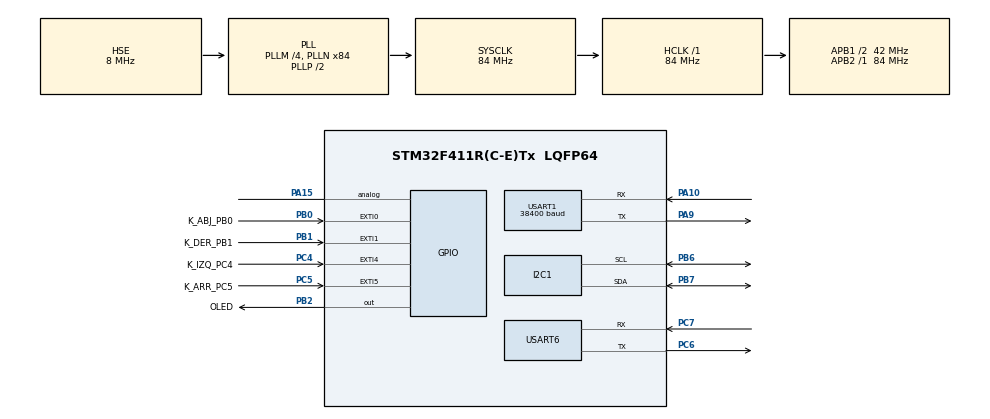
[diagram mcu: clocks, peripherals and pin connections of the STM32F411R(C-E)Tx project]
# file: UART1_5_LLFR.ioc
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FREERTOS.Tasks01=defaultTask,0,128,StartDefaultTask,Default,NULL
Mcu.Family=STM32F4
Mcu.Name=STM32F411R(C-E)Tx
Mcu.Package=LQFP64
NVIC.PriorityGroup=NVIC_PRIORITYGROUP_4
NVIC.TIM1_UP_TIM10_IRQn=true\:0\:0\:false\:false\:true\:false\:false\:true
NVIC.TimeBase=TIM1_UP_TIM10_IRQn
NVIC.TimeBaseIP=TIM1
NVIC.USART1_IRQn=true\:5\:0\:false\:false\:true\:true\:true\:true
NVIC.USART6_IRQn=true\:5\:0\:false\:false\:true\:true\:true\:true
PA10.GPIO_Mode=GPIO_MODE_AF_PP
PA10.GPIO_PuPd=GPIO_PULLUP
PA10.GPIO_Speed=GPIO_SPEED_FREQ_VERY_HIGH
PA10.Mode=Asynchronous
PA10.Signal=USART1_RX
PA13.Mode=Serial_Wire
PA13.Signal=SYS_JTMS-SWDIO
PA14.Mode=Serial_Wire
PA14.Signal=SYS_JTCK-SWCLK
PA15.Signal=GPIO_Analog
PA9.GPIO_Mode=GPIO_MODE_AF_PP
PA9.GPIO_PuPd=GPIO_PULLUP
PA9.GPIO_Speed=GPIO_SPEED_FREQ_VERY_HIGH
PA9.Mode=Asynchronous
PA9.Signal=USART1_TX
PB0.GPIO_Label=K_ABJ_PB0
PB0.GPIO_ModeDefaultEXTI=GPIO_MODE_IT_FALLING
PB0.Signal=GPXTI0
PB1.GPIO_Label=K_DER_PB1
PB1.GPIO_ModeDefaultEXTI=GPIO_MODE_IT_FALLING
PB1.Signal=GPXTI1
PB2.GPIO_Label=OLED
PB2.GPIO_ModeDefaultOutputPP=GPIO_MODE_OUTPUT_PP
PB2.GPIO_PuPd=GPIO_NOPULL
PB2.GPIO_Speed=GPIO_SPEED_FREQ_LOW
PB2.PinState=GPIO_PIN_RESET
PB2.Signal=GPIO_Output
PB6.Mode=I2C
PB6.Signal=I2C1_SCL
PB7.Mode=I2C
PB7.Signal=I2C1_SDA
PC4.GPIO_Label=K_IZQ_PC4
PC4.GPIO_ModeDefaultEXTI=GPIO_MODE_IT_FALLING
PC4.Signal=GPXTI4
PC5.GPIO_Label=K_ARR_PC5
PC5.GPIO_ModeDefaultEXTI=GPIO_MODE_IT_FALLING
PC5.Signal=GPXTI5
PC6.Mode=Asynchronous
PC6.Signal=USART6_TX
PC7.Mode=Asynchronous
PC7.Signal=USART6_RX
PH0\ -\ OSC_IN.Mode=HSE-External-Oscillator
PH0\ -\ OSC_IN.Signal=RCC_OSC_IN
PH1\ -\ OSC_OUT.Mode=HSE-External-Oscillator
PH1\ -\ OSC_OUT.Signal=RCC_OSC_OUT
ProjectManager.HeapSize=0x200
ProjectManager.StackSize=0x400
ProjectManager.TargetToolchain=SW4STM32
RCC.48MHZClocksFreq_Value=42000000
RCC.AHBFreq_Value=84000000
RCC.APB1CLKDivider=RCC_HCLK_DIV2
RCC.APB1Freq_Value=42000000
RCC.APB1TimFreq_Value=84000000
RCC.APB2Freq_Value=84000000
RCC.APB2TimFreq_Value=84000000
RCC.CortexFreq_Value=84000000
RCC.HCLKFreq_Value=84000000
RCC.HSE_VALUE=8000000
RCC.HSI_VALUE=16000000
RCC.LSE_VALUE=32768
RCC.PLLM=4
RCC.PLLN=84
RCC.PLLSourceVirtual=RCC_PLLSOURCE_HSE
RCC.SYSCLKFreq_VALUE=84000000
RCC.SYSCLKSource=RCC_SYSCLKSOURCE_PLLCLK
RCC.VCOOutputFreq_Value=168000000
USART1.BaudRate=38400
USART1.VirtualMode=VM_ASYNC
USART1.WordLength=WORDLENGTH_8B
USART6.VirtualMode=VM_ASYNC
USART6.WordLength=WORDLENGTH_8B
VP_FREERTOS_VS_CMSIS_V1.Mode=CMSIS_V1
VP_SYS_VS_tim1.Mode=TIM1
board=test_01_LED

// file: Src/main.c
/* USER CODE BEGIN Header */
/**
  ******************************************************************************
  * @file           : main.c
  * @brief          : Main program body
  ******************************************************************************
  * @attention
  *
  * <h2><center>&copy; Copyright (c) 2019 STMicroelectronics.
  * All rights reserved.</center></h2>
  *
  * This software component is licensed by ST under Ultimate Liberty license
  * SLA0044, the "License"; You may not use this file except in compliance with
  * the License. You may obtain a copy of the License at:
  *                             www.st.com/SLA0044
  *
  **
  ******************************************************************************
  * @file    main.c
  * @author  R.Oliva - RTOS (i) TP Final
  * @version V1.1
  * @brief   main del TPFinal RTOS i 2019
  ******************************************************************************
  */

/* USER CODE END Header */

#include <string.h>
#include <stdio.h>
#include <stdint.h>
#include "main.h"
#include "cmsis_os.h"
#include "i2c.h"
#include "usart.h"
#include "gpio.h"

/* USER CODE BEGIN Includes */

#define TRUE 1
#define FALSE 0

#define PKTBUFSIZE  96
#define PACK_OK_LEN 35

// #define DEBUG_USART6
#define DEBUG_VERBOSE

/* USER CODE END Includes */

/* USER CODE BEGIN PTD */
// 24.4.2019 -Make packet_content type char, 35+2 chars long
typedef struct PACKET_OK
{
  char packet_content[PACK_OK_LEN+2];
} PACKET_OK_t;
//
// v6 for use with METEO v20 uses packet "UUU$ttttt.bbbbb.dddd.sssss.vvv.CRCC*QQQ":  (WSpeed is 5 chars long)
//      UUU$   start identifier
//      ttttt is 00000 08191 Raw Temperature ADC reading, can be 0-5V( Direct sensor with G=2) or 1-5V (4-20mA)
//      bbbbb is 00000 08191 Raw BaroPressure ADC reading, can be 0-5V( Direct sensor with G=1) or 1-5V (4-20mA)
//      dddd  is 0000 to 3600, WDIR*10 in UWORD
//      sssss is 00000 to 99999 from Anemometer / Thies.
//      vvv   was voltage, not used.
//      CRCC  is simple checksum (paso a uint16_t)
//      *QQQ  end identifier
//      Total length from $ is: 5+1+5+1+4+1+5+1+3+1+4= then '*' =15+7+4+5 =31
//      Total length form first U is 31+4 = 35
//      TestCStr[] = "UUU$29335.10156.2562.15100.125.1095*QQQ";
//  Parsed originally (after $ detected) with
// 	c = (char)sscanf(packet,"%5d.%5d.%4d.%5d.%3d.%4x",&out_t,
//
//  Now Parsed with UUU$ at start with:
// 	c = (uint8_t)sscanf(packet,"%4s%5d.%5d.%4d.%5d.%3d.%4x",&out_id,&out_t,
//		&out_b, &out_w_dir,&out_w_speed,
//		&out_vbat,&checksum);
// char okTestCStr[] = "UUU$29335.10156.2562.15100.125.1095";

//UART6 command structure Implem 21.4.19
typedef struct APP_CMD
{
	uint8_t COMMAND_NUM;
	uint8_t COMMAND_ARGS[10];
}APP_CMD_t;

typedef struct sensor_holder {
        int16_t IS_Aero;      // Current in 0-5V - Sampled
        int16_t Vs_Vbat;      // Bat. Voltage in 0-5V - Sampled
        int16_t Vs_OWind;     // OutDoor Wind Freq [Hz] from METEO / COM1
        int16_t Vs_OWDir;     // OutDoor WindDirection 0-360.0 [º] from METEO / COM1
        int16_t Vs_OTemp;     // External Temp 0-5V from METEO+NOMAD2/COM1
        int16_t Vs_OBaro;     // Barometric Pressure 0-5V from METEO+NOMAD2/COM1
} V_SENSOR_t;

/* USER CODE END PTD */

/* USER CODE BEGIN PD */
// Nuevo Menu 21.4.19
#define TOG_DEMO_U1_SINCOMM_COMMAND 	1
#define TOG_DEMO_U1_LOOPBK_COMMAND 		2
#define TOG_LEE_U1_METEO_COMMAND 		3
#define RTC_READ_DATE_TIME_COMMAND 	    4

// Flag defines Nuevo Menu 21.4.19
// #define DEMO1_OFF   (uint8_t)(0)
// #define DEMO1_ON    (uint8_t)(1)

char TestCStr[] = "UUU$29335.10156.2562.15100.125.1095*QQQ";
// y sin el tramo final:
// (corregido al valor en hexa = 57278 = 0xdfbe
char okTestCStr[] = "UUU$29335.10156.2562.15100.125.DFBE";
/* USER CODE END PD */

/* USER CODE BEGIN PV */
//global space for some variable
char usr_msg[250]={0};

//task handles
TaskHandle_t xTaskHandleDisplay   = NULL;   // Task 1 Display Handle
TaskHandle_t xTaskHandleChkMeteo  = NULL;   // Task 2 CheckMeteo Handle
TaskHandle_t xTaskHandleProcOutd  = NULL;   // Task 3 ProcessOutdoorInfo Handle
TaskHandle_t xTaskHandleWrUart6   = NULL;   // Task 4 Write_Uart6 Handle
TaskHandle_t xTaskHandlePrintErr  = NULL;   // Task 5 PrintError
TaskHandle_t xTaskHandleHeartBeat = NULL;   // Task 6 OLED Heartbeat 21.4.19
TaskHandle_t xTaskHandleUart6CmdH = NULL;   // Task 7 Uart6 CmdHandling 21.4.19
TaskHandle_t xTaskHandleUart6CmdP = NULL;   // Task 8 Uart6 CmdProcess 21.4.19

//Queue handle
QueueHandle_t packet_queue       = NULL;   // ok packets queue handle
QueueHandle_t output_write_queue = NULL;   // output write queue handle
QueueHandle_t command_queue      = NULL;   // comandos via UART6 Terminal

//software timer handle
TimerHandle_t led_timer_handle = NULL;

// Mutex handle declaration
SemaphoreHandle_t xMutex       = NULL;    // Protects sensor_data

// Binary Semaphore Handle
SemaphoreHandle_t xSem1        = NULL;

// packet buffer
uint8_t packet_buffer[PKTBUFSIZE];
uint8_t packet_len = 0;
uint8_t command_buffer[20];
uint8_t command_len = 0 ;
// 24.4.2019 command_selector - moved by user
// with UART6 menu, changes what Task3 sends to output
// uint8_t command_selector = 0;

// Pasamos a memoria global 24.4.2019
PACKET_OK_t new_packet;

// Global Sensor values (int)
V_SENSOR_t sensor_val;

// Control
int16_t  g_chk = 0;
int16_t  g_items = 0;
uint16_t  g_checksum = 0; // 25.4.19

// Menu por USART 6
// Nuevo menu 24.4.2019
char menu[]={"\
\r\nImprime Viento de METEO   ----> 1 \
\r\nImprime TempExterior MET  ----> 2 \
\r\nImprime DirViento METEO   ----> 3 \
\r\nImprime Info String MET    ---> 4 \
\r\nImprime Continuamente      ---> 5 \
\r\nDetener e imprimir Menu   ----> 0 \
\r\nTipee su opcion : "};

/* USER CODE END PV */

void SystemClock_Config(void);
void MX_FREERTOS_Init(void);
/* USER CODE BEGIN PFP */
//tasks prototypes - RTOS1
void vTask_Display(void *params);              // Task 1 = Display
void vTask_Check_Meteo_packet(void *params);   // Task 2 = Check Meteo Packet
void vTask_Process_OutdoorInfo(void *params);  // Task 3 = ProcessOutdoorInfo
void vTask_Write_Uart6(void *params);          // Task 4 = Write to UART6 -Terminal
void vTask_PrintError(void *params);           // Task 5 = Imprimeerror
void vTask_HeartBeat(void *params);            // Task 6 = OLED Heartbeat 21.4.19
void vTask_uart6_cmd_handling(void *params);   // Task 7 = Terminal UART6 Cmd_Handling
void vTask_uart6_cmd_processing(void *params); // Task 8 = Terminal UART6 proceso comandos

// Funciones auxiliares
// Enviar el Queue de salida a UART6
// void vTask_Write_Uart6(void *params);
// Prints message out on UART6..
void printmsg(char *msg);
// Enviar Items leidos via UART1
void print_items_message(int16_t items);
// Salida 1 - viento en UART1 - redef 25.4.2019
void print_Wind_Speed(char *task_msg, int16_t wsp);
// Salida 2 - Temp en UART1 - redef 25.4.2019
void print_Out_Temp(char *task_msg, int16_t temp);
// Salida 3 - DirViento en UART1 - redef 25.4.2019
void print_Wind_Dir(char *task_msg, int16_t wdir);
// Salida 4 - Contenidos String - redef 25.4.2019
void print_String_Items(char *task_msg, uint16_t u6checksum, uint16_t u6chk, int16_t u6items);
// Salida 5 - Impresion continua;
void print_String_Complete(char *task_msg,
		int16_t temp,
		int16_t wsp,
		int16_t wdir,
		uint16_t u6checksum,
		uint16_t u6chk,
		int16_t u6items);

// Salida - Error en Outdoor Info
void print_error_message(char *task_msg);
// Codigo del U6 - Terminal
uint8_t getCommandCode(uint8_t *buffer);
// Futuro: comandos UART6 - Terminal - Argumentos
void getArguments(uint8_t *buffer);
// Implementado 21.4.19 para comando 1

#ifdef MODO_DEMO_ON
void toggle_demoU1_sinCom(char *task_msg);
// No implementado
void toggle_demoU1_Comloopbak(void);
// No implementado
void toggle_leeU1Meteo(void);
// Parcial
void read_rtc_info(char *task_msg);
#endif
// 22 4 2019  -Start Reception Function
// Rutinal LL requieren habilitación
// (STMCubeF4 v1_24 - LLNucleo 411 Examples)
void Start_Reception(void);
// Salida U6 Menu - Error en Comando
void print_Uart6_error_message(char *task_msg);
// UART6 Mensaje Comando 1
void print_Uart6_messageCmd1(char *task_msg);

/* USER CODE END PFP */

int main(void)
{

  /* MCU Configuration--------------------------------------------------------*/

  /* Reset of all peripherals, Initializes the Flash interface and the Systick. */
  HAL_Init();

  /* Configure the system clock */
  SystemClock_Config();

  /* Initialize all configured peripherals */
  MX_GPIO_Init();
  MX_I2C1_Init();
  MX_USART6_UART_Init();
  MX_USART1_UART_Init();
  /* USER CODE BEGIN 2 */
  sprintf(usr_msg,"\r\n RTOS1 TP Final R.Oliva 2019 \r\n");
  printmsg(usr_msg);

  /* USER CODE END 2 */

  /* Call init function for freertos objects (in freertos.c) */
  MX_FREERTOS_Init();

  // Start Reception - Habilita Flags USARTs 22.4.2019
  Start_Reception();

  // Create packet queue (up to 10 stripped packets)
  packet_queue = xQueueCreate(10,sizeof(PACKET_OK_t));

  // Create the write queue (up to 300 chars) - 25.4.19 ++to300 chars
  output_write_queue = xQueueCreate(300,sizeof(char*));

  // 21.4.2019 create command queue
  command_queue = xQueueCreate(10,sizeof(APP_CMD_t*));

  //24.4.2019 Zona protegida de Memoria Sensores
  xMutex = xSemaphoreCreateMutex();

  // 25.4.2019
  xSem1 =  xSemaphoreCreateBinary();

	// tasks creation - RTOS1
	// void vTask_Display(void *params);              // Task 1 = Display
	// void vTask_Check_Meteo_packet(void *params);   // Task 2 = Check Meteo Packet
	// void vTask_Process_OutdoorInfo(void *params);  // Task 3 = ProcessOutdoorInfo
	// void vTask_Write_Uart6(void *params);          // Task 4 = Write to UART6 -Terminal
	// with task handles
	// TaskHandle_t xTaskHandleDisplay  = NULL;   // Task 1 Display Handle
	// TaskHandle_t xTaskHandleChkMeteo = NULL;   // Task 2 CheckMeteo Handle
	// TaskHandle_t xTaskHandleProcOutd = NULL;   // Task 3 ProcessOutdoorInfo Handle
	// TaskHandle_t xTaskHandleWrUart6  = NULL;   // Task 4 Write_Uart6 Handle

	if((packet_queue != NULL) && (output_write_queue != NULL) && (command_queue != NULL) && (xMutex != NULL) && xSem1 != NULL )
	{
		// Create task-1 vTask_Display
		// TaskHandle_t xTaskHandleDisplay -  Task 1 Display Handle
		xTaskCreate(vTask_Display,"TASK_DISPLAY-1",500,NULL,1,&xTaskHandleDisplay);

		// Create task-2 vTask_Check_Meteo_packet
		// TaskHandle_t xTaskHandleChkMeteo - Task 2 CheckMeteo Handle
		xTaskCreate(vTask_Check_Meteo_packet,"TASK_CHK_MET_2",500,NULL,2,&xTaskHandleChkMeteo);

		// Create task-3 vTask_Process_OutdoorInfo
		// TaskHandle_t xTaskHandleProcOutd - Task 3 ProcessOutdoorInfo Handle
		xTaskCreate(vTask_Process_OutdoorInfo,"TASK_PROCESS_OUTD_3",500,NULL,2,&xTaskHandleProcOutd);

		// Create task-4 vTask_Write_Uart6
		// TaskHandle_t xTaskHandleWrUart6  - Task 4 Write_Uart6 Handle
		xTaskCreate(vTask_Write_Uart6,"TASK4-UART-WRITE",500,NULL,2,&xTaskHandleWrUart6);

		// Create task-5 vTask_PrintError
		// TaskHandle_t xPrintError  - Task 5
		xTaskCreate(vTask_PrintError,"TASK5-PRINTERROR",500,NULL,2,&xTaskHandlePrintErr);

		// Create task-6 vTask_HeartBeat
		// TaskHandle_t HeartBeat  - Task 6
		xTaskCreate(vTask_HeartBeat,"TASK6-HrtBEAT",500,NULL,2,&xTaskHandleHeartBeat);

		//create task-7 U6 cmd handle
		xTaskCreate(vTask_uart6_cmd_handling,"TASK7-U6CMD-HANDLING",500,NULL,2,&xTaskHandleUart6CmdH);

		//create task-8 U6 cmd process 25.4.Subimos Stack
		xTaskCreate(vTask_uart6_cmd_processing,"TASK8-U6CMD-PROCESS",700,NULL,2,&xTaskHandleUart6CmdP);

	    // start the scheduler
	    vTaskStartScheduler();
	}else
	{
		sprintf(usr_msg,"Fallo la creacion de las colas / mutex!\r\n");
		printmsg(usr_msg);

   }

  /* Start scheduler */
  // osKernelStart();

  /* We should never get here as control is now taken by the scheduler */

  /* Infinite loop */
  while (1)
  {

  }
}

void SystemClock_Config(void)
{
  RCC_OscInitTypeDef RCC_OscInitStruct = {0};
  RCC_ClkInitTypeDef RCC_ClkInitStruct = {0};

  /** Configure the main internal regulator output voltage
  */
  __HAL_RCC_PWR_CLK_ENABLE();
  __HAL_PWR_VOLTAGESCALING_CONFIG(PWR_REGULATOR_VOLTAGE_SCALE1);
  /** Initializes the CPU, AHB and APB busses clocks
  */
  RCC_OscInitStruct.OscillatorType = RCC_OSCILLATORTYPE_HSE;
  RCC_OscInitStruct.HSEState = RCC_HSE_ON;
  RCC_OscInitStruct.PLL.PLLState = RCC_PLL_ON;
  RCC_OscInitStruct.PLL.PLLSource = RCC_PLLSOURCE_HSE;
  RCC_OscInitStruct.PLL.PLLM = 4;
  RCC_OscInitStruct.PLL.PLLN = 84;
  RCC_OscInitStruct.PLL.PLLP = RCC_PLLP_DIV2;
  RCC_OscInitStruct.PLL.PLLQ = 4;
  if (HAL_RCC_OscConfig(&RCC_OscInitStruct) != HAL_OK)
  {
    Error_Handler();
  }
  /** Initializes the CPU, AHB and APB busses clocks
  */
  RCC_ClkInitStruct.ClockType = RCC_CLOCKTYPE_HCLK|RCC_CLOCKTYPE_SYSCLK
                              |RCC_CLOCKTYPE_PCLK1|RCC_CLOCKTYPE_PCLK2;
  RCC_ClkInitStruct.SYSCLKSource = RCC_SYSCLKSOURCE_PLLCLK;
  RCC_ClkInitStruct.AHBCLKDivider = RCC_SYSCLK_DIV1;
  RCC_ClkInitStruct.APB1CLKDivider = RCC_HCLK_DIV2;
  RCC_ClkInitStruct.APB2CLKDivider = RCC_HCLK_DIV1;

  if (HAL_RCC_ClockConfig(&RCC_ClkInitStruct, FLASH_LATENCY_2) != HAL_OK)
  {
    Error_Handler();
  }
}

/* USER CODE BEGIN 4 */

// RTOSi - Implementacion de Task handlers
// TP Final R.Oliva 2019

// Task 1 - Display Menu por UART6
void vTask_Display(void *params)
{
char *pData = menu;
#ifdef DEBUG_VERBOSE
printmsg("\n\rTsk1");
#endif
vTaskDelay(20);
	while(1)
	{
		xQueueSend(output_write_queue,&pData,portMAX_DELAY);

		//Esperar indefinidamente.
		xTaskNotifyWait(0,0,NULL,portMAX_DELAY);
		vTaskDelay(pdMS_TO_TICKS(50)); //23.4.19

	}
}

// Task2 vTask_Check_Meteo_packet - Verifica lo que llega
// de METEO por UART1, y lo pasa a la cola de paquetes ok
// En modo Demo, con uint8_t flag_demo_U1_sinCom = DEMO1_ON
// envía cada 1000 ms un paquete de muestra - sino en OFF
// espera notificación de un paquete via UART1
// 24.4.2019 Sacamos modo Demo, solo String ISR_UART1
// Copiado y pasado al Packet queue, delay 0
void vTask_Check_Meteo_packet(void *params)
{
// uint8_t command_code=0;
// typedef struct PACKET_OK
// {
//    uint8_t packet_content[PACK_OK_LEN+1];
// } PACKET_OK_t;
// PACKET_OK_t *new_packet;
#ifdef DEBUG_VERBOSE
   printmsg("\n\rTsk2");
#endif
//vTaskDelay(20);
	while(1)
	{
        // Sacamos modo Demo, esperamos String de ISR_UART1
		// En vez de PortMaxDelay, que espere 1500 ms pdMS_TO_TICKS(1500));
		// xTaskNotifyWait(0,0,NULL,portMAX_DELAY);
		vTaskDelay(pdMS_TO_TICKS(500));

		// 1. allocate space.. Not used
	    // new_packet = (PACKET_OK_t*) pvPortMalloc(sizeof(PACKET_OK_t));

		//taskENTER_CRITICAL();
		// make a copy of the buffer_packet to new_packet
		// strncpy(new_packet->packet_content, packet_buffer,PACK_OK_LEN);
		strncpy(new_packet.packet_content, okTestCStr,PACK_OK_LEN);
		// Copiamos uno de muestra (corregido 25.42019)
	    // char okTestCStr[] = "UUU$29335.10156.2562.15100.125.dfbe";
		//sprintf(new_packet->packet_content,"%s",okTestCStr);
		//taskEXIT_CRITICAL();

		// 24.4.2019 Delay
		xQueueSend(packet_queue,&new_packet, portMAX_DELAY);

		vTaskDelay(pdMS_TO_TICKS(50));
	}

}

// Task3 vTask_Process_OutdoorInfo - el paquete
// de METEO por UART1 es procesado para sacar la info
// 24.4.2019
// Menu por USART 6
// Nuevo menu 24.4.2019
// char menu[]={"
// Imprime Viento de METEO   ----> 1
// Imprime TempExterior MET  ----> 2
// Imprime DirViento METEO   ----> 3
// Imprime Info S Completo MET---> 4
// nDetener e imprimir Menu   ----> 0
// 24.4.19 Copiar datos a
// Control
// int16_t  g_chk = 0;
// in t16_t  g_items = 0;
//    V_SENSOR_t sensor_val;
//typedef struct sensor_holder {
//        int16_t IS_Aero;      // Current in 0-5V - Sampled
//        int16_t Vs_Vbat;      // Bat. Voltage in 0-5V - Sampled
//        int16_t Vs_OWind;     // OutDoor Wind Freq [Hz] from METEO / COM1
//        int16_t Vs_OWDir;     // OutDoor WindDirection 0-360.0 [º] from METEO / COM1
//        int16_t Vs_OTemp;     // External Temp 0-5V from METEO+NOMAD2/COM1
//        int16_t Vs_OBaro;     // Barometric Pressure 0-5V from METEO+NOMAD2/COM1
// V_SENSOR_t;

void vTask_Process_OutdoorInfo(void *params)
{
	// PACKET_OK_t *new_packet;
	// char task_msg[50];
	char out_id[6];
	uint16_t chk = 0;
    int16_t items = 0;
	int16_t out_t =0;
	int16_t out_b = 0;
	int16_t out_w_speed = 0;
	int16_t out_vbat = 0;
    int16_t out_w_dir = 0;
	uint16_t checksum = 0;  // temporary variables 25.4.19 checksum unsigned
	//uint32_t toggle_duration = pdMS_TO_TICKS(500);
    #ifdef DEBUG_VERBOSE
	 printmsg("\n\rTsk3");
    #endif

	while(1)
	{
		xQueueReceive(packet_queue,(void*)&new_packet,portMAX_DELAY);
        // printmsg("\n\r1");

		items = sscanf(new_packet.packet_content,"%4s%5hd.%5hd.%4hd.%5hd.%3hd.%4hx",&out_id,&out_t,
		 &out_b, &out_w_dir,&out_w_speed, &out_vbat,&checksum);

		// print_items_message(items);
		// void print_items_message(char *task_msg, int16_t items)
		// sprintf("\n\r I %d, o_v %d", items, out_vbat);
		// printmsg(task_msg);

		chk = out_t + out_b + out_w_dir;
	    chk += out_w_speed + out_vbat;

	    // Protect Access
        xSemaphoreTake(xMutex, portMAX_DELAY);

        sensor_val.Vs_OTemp = out_t;
        sensor_val.Vs_OBaro = out_b;
        sensor_val.Vs_OWind = out_w_speed;
        sensor_val.Vs_OWDir = out_w_dir;
        g_checksum = checksum;
        g_chk = chk;
        g_items = items;

        xSemaphoreGive(xMutex);

        /* solucion anterior
	    if((chk == checksum) && (items == 7))
		{
		print_Wind_Speed(task_msg, out_w_speed);
		}
		else
		{
		print_error_message(task_msg);
		}
		*/
		// enviar a QB_output a Terminal, delay 0
		// xQueueSend(output_write_queue,&task_msg, portMAX_DELAY);

		// liberar memoria de new_packet - ya no usado
		// vPortFree(new_packet);
		vTaskDelay(pdMS_TO_TICKS(100));
	}
}

// Task4 vTask_PrintError solo en caso de recepcion erronea UART1
void vTask_PrintError(void *params)
{
	char pData[] = "Error en Recepcion";
	printmsg("\n\rTsk5");
	vTaskDelay(20);
	while(1)
	{
		xTaskNotifyWait(0,0,NULL,portMAX_DELAY);
		//1. allocate space..
		xQueueSend(output_write_queue,&pData,portMAX_DELAY);
		vTaskDelay(pdMS_TO_TICKS(50));
	}

}

// Task5 vTask_Write_UART6 todo lo que llega a la cola de output va a la UART6 a 115200
void vTask_Write_Uart6(void *params)
{
	char *pData = NULL;
	printmsg("\n\rTs4..");
	vTaskDelay(20);
	while(1)
	{

        xQueueReceive(output_write_queue,&pData,portMAX_DELAY);
		printmsg(pData);
		vTaskDelay(pdMS_TO_TICKS(50));

	}
}

// Task 6 = OLED Heartbeat 21.4.19
void vTask_HeartBeat(void *params)
{

	while(1){
		vTaskDelay(pdMS_TO_TICKS(500));
		// OLED_GPIO_Port, OLED_Pin
		LL_GPIO_TogglePin(OLED_GPIO_Port,OLED_Pin);
	}
}

// void vTask_uart6_cmd_handling - decodifica el comando que le llega del usuario
// a traves de terminal UART6, según el menu, y lo manda a la cola de comandos
void vTask_uart6_cmd_handling(void *params)   // Task 7 = Terminal UART6 Cmd_Handling
{
	uint8_t command_code=0;
	APP_CMD_t *new_cmd;
	char dbg_msg[20];

	while(1)
	{
		xTaskNotifyWait(0,0,NULL,portMAX_DELAY);
		//1. send command to queue
		#ifdef DEBUG_USART6
			sprintf(dbg_msg,"\r\nRxCmh");
			printmsg(dbg_msg);
		#endif
		new_cmd = (APP_CMD_t*) pvPortMalloc(sizeof(APP_CMD_t));

		taskENTER_CRITICAL();
		command_code = getCommandCode(command_buffer);
		new_cmd->COMMAND_NUM = command_code;
		getArguments(new_cmd->COMMAND_ARGS);
		taskEXIT_CRITICAL();
		#ifdef DEBUG_USART6
			sprintf(dbg_msg,"\r\n Cm%d",command_code);
			printmsg(dbg_msg);
		#endif
		// enviar al command queue 21.4.19
		xQueueSend(command_queue,&new_cmd,portMAX_DELAY);
		vTaskDelay(pdMS_TO_TICKS(50));
	}
}

// Task 8 void vTask_uart6_cmd_processing - ejecuta los comandos de la cola
// de comandos alimentada por el task anterior
// int16_t out_t =0;
// int16_t out_b = 0;
// int16_t out_w_speed = 0;
// int16_t out_vbat = 0;
// int16_t out_w_dir = 0;
// uint16_t checksum = 0;  // temporary variables
// Valores del String transmitido por METEO:
// v6 for use with METEO v20 uses packet "UUU$ttttt.bbbbb.dddd.sssss.vvv.CRCC*QQQ":  (WSpeed is 5 chars long)
//      UUU$   start identifier
//      ttttt is 00000 08191 Raw Temperature ADC reading, can be 0-5V( Direct sensor with G=2) or 1-5V (4-20mA)
//      bbbbb is 00000 08191 Raw BaroPressure ADC reading, can be 0-5V( Direct sensor with G=1) or 1-5V (4-20mA)
//      dddd  is 0000 to 3600, WDIR*10 in UWORD
//      sssss is 00000 to 99999 from Anemometer / Thies.
//      vvv   was voltage, not used.
//      CRCC  is simple checksum
//      *QQQ  end identifier
// Si se usa el de muestra:
// char okTestCStr[] = "UUU$29335.10156.2562.15100.125.1095";
//  Imprime Viento de METEO   ----> 1
//  Imprime TempExterior MET  ----> 2
//  Imprime DirViento METEO   ----> 3
//  Imprime Info String MET    ---> 4
//  Impresion continua         ---> 5
//  Detener e imprimir Menu   ----> 0
//  Tipee su opcion : "};

// Task 8 = Terminal UART6 proceso comandos

void vTask_uart6_cmd_processing(void *params)
{
	APP_CMD_t *new_cmd;
	char task_msg[100];
	static uint8_t local_command_sel = 1;
	uint16_t u6chk = 0;
    int16_t u6items = 0;
    int16_t outtemp=0;
	int16_t u6outbaro = 0;
	int16_t u6outwindspeed = 0;
    int16_t u6outwinddir = 0;
	uint16_t u6checksum = 0;
    TickType_t QDelay = portMAX_DELAY;
	// pdMS_TO_TICKS(2000)

	while(1)
	{
		xQueueReceive(command_queue,(void*)&new_cmd, QDelay );

		#ifdef DEBUG_USART6
			sprintf(task_msg,"\r\n C_N:%d", new_cmd->COMMAND_NUM);
			printmsg(task_msg);
		#endif

	    xSemaphoreTake(xMutex, portMAX_DELAY);
	    outtemp = sensor_val.Vs_OTemp;
	    u6outbaro = sensor_val.Vs_OBaro;
	    u6outwindspeed = sensor_val.Vs_OWind;
	    u6outwinddir = sensor_val.Vs_OWDir;
	    u6checksum = g_checksum;
	    u6chk  = g_chk;
	    u6items = g_items;
	    xSemaphoreGive(xMutex);

		if(new_cmd->COMMAND_NUM == 1)
		{
			//print_Uart6_messageCmd1(task_msg);
			print_Wind_Speed(task_msg, u6outwindspeed);
			QDelay = portMAX_DELAY;
		}
		else if(new_cmd->COMMAND_NUM == 2)
		{
			print_Out_Temp(task_msg, outtemp);
			QDelay = portMAX_DELAY;
		}
		else if(new_cmd->COMMAND_NUM == 3)
		{
			print_Wind_Dir(task_msg, u6outwinddir);
			QDelay = portMAX_DELAY;
		}
		else if(new_cmd->COMMAND_NUM == 4 )
		{
			print_String_Items(task_msg, u6checksum, u6chk, u6items);
			QDelay = portMAX_DELAY;
		}
		else if(new_cmd->COMMAND_NUM == 5 )
		{
//		print_String_Complete(char *task_msg,
//					int16_t temp,
//					int16_t wsp,
//					int16_t wdir,
//					uint16_t u6checksum,
//					uint16_t u6chk,
//					int16_t u6items)
			local_command_sel = 1;
			print_String_Complete(task_msg,outtemp,u6outwindspeed,u6outwinddir,u6checksum,u6chk,u6items);
			// Para impresión continua, cambiamos a 1000 Ticks, ojo no hacer vMallocfree..
			QDelay = pdMS_TO_TICKS(1000);
            // Autosend command 5..
			// new_cmd->COMMAND_NUM = 5;
			// xQueueSend(command_queue,&new_cmd,portMAX_DELAY);
		} else
		{
			local_command_sel = 0;
			QDelay = portMAX_DELAY;
			print_Uart6_error_message(task_msg);
		}

		// liberar memoria asignada a new_cmd, solo si estamos recibiendo
		// por Puerto Serie: Si no llegó nada (Delay < PortMaxDelay) no libere
		if (QDelay == portMAX_DELAY){
		 vPortFree(new_cmd);
		}
		vTaskDelay(pdMS_TO_TICKS(50));
		// Llamar al menu solo si comando no reconocido
		if (local_command_sel == 0){
			xTaskNotify(xTaskHandleDisplay,0,eNoAction);
			local_command_sel = 1;
		}
	}
}

// Prints message out on UART6..
// 18.4.2019 Use LL_USART functions as in STM32F4 LL_Examples
void printmsg(char *msg)
{
	for(uint32_t i=0; i < strlen(msg); i++)
	{
		while(!LL_USART_IsActiveFlag_TXE(USART6)){
			; // Wait forever
		}
		// while (USART_GetFlagStatus(USART6,USART_FLAG_TXE) != SET);
		LL_USART_TransmitData8(USART6,msg[i]);
	}

	while (!LL_USART_IsActiveFlag_TC(USART6)){
		;  // Wait again forever
	}

}

// Funciones de Salida al UART6 18.4.19

// UART6 Mensaje Comando 1
void print_Uart6_messageCmd1(char *task_msg)
{
	sprintf( task_msg,"\r\n Comando 1\r\n");
	xQueueSend(output_write_queue,&task_msg,portMAX_DELAY);
}

// Salida 1 - viento en UART1 -25-4-19
void print_Wind_Speed(char *task_msg, int16_t wsp)
{
	sprintf( task_msg,"\r\n Veloc viento %d \r\n", wsp);
	xQueueSend(output_write_queue,&task_msg, portMAX_DELAY);
}

// Salida 2 - Temp en UART1 - redef 25.4.2019
void print_Out_Temp(char *task_msg, int16_t temp)
{
	sprintf( task_msg,"\r\n Temp Ext %d \r\n", temp);
	xQueueSend(output_write_queue,&task_msg, portMAX_DELAY);
}

// Salida 3 - DirViento en UART1 - redef 25.4.2019
void print_Wind_Dir(char *task_msg, int16_t wdir)
{
	sprintf( task_msg,"\r\n Direcc. viento %d \r\n", wdir);
	xQueueSend(output_write_queue,&task_msg, portMAX_DELAY);
}

// Salida 4 - u6checksum = g_checksum; u6chk  = g_chk;
//            u6items = g_items;
// uint16_t u6chk = 0; int16_t u6items = 0;
// redef 25.4.2019

void print_String_Items(char *task_msg, uint16_t u6checksum, uint16_t u6chk, int16_t u6items)
{
	sprintf( task_msg,"\r\n Leido: Chks %d  Calc: chk %d Items: %d\r\n",u6checksum, u6chk, u6items);
	xQueueSend(output_write_queue,&task_msg, portMAX_DELAY);
}

// Salida 5 - Impresion continua;
// Difide in two sprintf calls()..
void print_String_Complete(char *task_msg,
		int16_t temp,
		int16_t wsp,
		int16_t wdir,
		uint16_t u6checksum,
		uint16_t u6chk,
		int16_t u6items)
{
    vTaskDelay(pdMS_TO_TICKS(200));
	sprintf( task_msg,"\r\n Dat: T=%5hd Vv= %5hd Wd=%4hd",temp,wsp,wdir);
	xQueueSend(output_write_queue,&task_msg, portMAX_DELAY);
	vTaskDelay(pdMS_TO_TICKS(200));
	sprintf( task_msg,"Rchk: %d Cchk: %d It: %d\r\n",u6checksum,u6chk,u6items);
	xQueueSend(output_write_queue,&task_msg, portMAX_DELAY);
}

// Salida  - Error en Outdoor Info
void print_error_message(char *task_msg)
{
	sprintf( task_msg,"\r\n Error en OutdoorInfo\r\n");
	xQueueSend(output_write_queue,&task_msg,portMAX_DELAY);
}

// UART6 Error en Comando
void print_Uart6_error_message(char *task_msg)
{
	sprintf( task_msg,"\r\n Comando no reconocido\r\n");
	xQueueSend(output_write_queue,&task_msg,portMAX_DELAY);
}

// Comandos UART6 - Terminal 21.4.19 Sacar el ASCII
uint8_t getCommandCode(uint8_t *buffer)
{

	return buffer[0]-48;
}

// Futuro: comandos UART6 - Terminal - Argumentos
void getArguments(uint8_t *buffer)
{

}

// Funcion ejecución Comando 1 - Pasar a modo Demo sin COM1, sin METEO
// Togglea el flag uint8_t flag_demo_U1_sinCom = DEMO1_OFF/ON
// que afecta a la tarea vTask_Check_Meteo_packet()
// En modo Demo, con uint8_t flag_demo_U1_sinCom = DEMO1_ON
// envía cada 1000 ms un "paqueteOK" de muestra - sino en OFF
// espera notificación de un paquete via UART1

#ifdef MODO_DEMO_ON
void toggle_demoU1_sinCom(char *task_msg)
{
	uint8_t flag_copy = 0;
	// Hacer una copia del estado actual del Flag e invertirlo
	taskENTER_CRITICAL();
	if (flag_demo_U1_sinCom == DEMO1_OFF){
		flag_demo_U1_sinCom = DEMO1_ON;
	    }
		else {
		flag_demo_U1_sinCom = DEMO1_OFF;
		}
	flag_copy = flag_demo_U1_sinCom;
	taskEXIT_CRITICAL();
	// aviso que pasamos a ON o OFF
	if (flag_copy == DEMO1_OFF){
		sprintf( task_msg,"\r\n Demo sin Com = %d OFF\r\n", flag_copy);
		}
	else {
		sprintf( task_msg,"\r\n Demo sin Com = %d ON\r\n", flag_copy);
	    }
	xQueueSend(output_write_queue,&task_msg,portMAX_DELAY);
}

// Funcion toggle_demoU1_Comloopbak() - demo con Loopback
// No implementada
void toggle_demoU1_Comloopbak(void)
{

}

// Funcion toggle_leeU1Meteo() - lectura METEO directa
// No implementada
void toggle_leeU1Meteo(void)
{

}
#endif

// Funcion read_rtc_info(task_msg) - RTC needs to be included 22.4.2019
void read_rtc_info(char *task_msg)
{
#ifdef LOW_LEVEL_RTC
	RTC_TimeTypeDef RTC_time;
	RTC_DateTypeDef RTC_date;
	//read time and date from RTC peripheral of the microcontroller
	RTC_GetTime(RTC_Format_BIN, &RTC_time);
	RTC_GetDate(RTC_Format_BIN, &RTC_date);

	sprintf(task_msg,"\r\nTime: %02d:%02d:%02d \r\n Date : %02d-%2d-%2d \r\n",RTC_time.RTC_Hours,RTC_time.RTC_Minutes,RTC_time.RTC_Seconds, \
									RTC_date.RTC_Date,RTC_date.RTC_Month,RTC_date.RTC_Year );
	xQueueSend(output_write_queue,&task_msg,portMAX_DELAY);
#endif
}

// Taken from LL_UART - Requires RXNE IT Enable
// Testing
#define RX_UART1_EN
void Start_Reception(void){
	// Habilitar Flags limpieza y Recepcion
	sprintf(usr_msg,"\r\n Inicio Recepcion UART6 \r\n");
	printmsg(usr_msg);
	// Limpiar Overrun Flag UART6
	LL_USART_ClearFlag_ORE(USART6);
	// Habilitar Interrupcion pr RXNE (Rx Not Empty)
	LL_USART_EnableIT_RXNE(USART6);
#ifdef RX_UART1_EN
	sprintf(usr_msg,"\r\n Inicio Recepcion UART1 \r\n");
	printmsg(usr_msg);
	// Limpiar Overrun Flag UART1
	LL_USART_ClearFlag_ORE(USART1);
	// Habilitar Interrupcion pr RXNE (Rx Not Empty)
	LL_USART_EnableIT_RXNE(USART1);
#endif
}

// Funciones de CallBack
// USART1 - Recepción (antes en stm32f4xx_it.c, aqui)
// USART1_ISR R.Oliva 18.4.2019 moved to main 24.4.2019
#define IMPLEMENT_USART1_ISR_IN_MAIN
#ifndef IMPLEMENT_USART1_ISR_IN_MAIN
void USART1_Reception_Callback(void){
	uint16_t data_byte;
	//a data byte is received from the user
	BaseType_t xHigherPriorityTaskWoken = pdFALSE;
	data_byte = LL_USART_ReceiveData8(USART1);

	packet_buffer[packet_len++] = (data_byte & 0xFF) ;

	if((data_byte == '*' ) && (packet_len == PACK_OK_LEN))
			{
				//then packet is ok..
				//reset the packet_len variable
				packet_len = 0;

				//notify the CheckMeteoHand task
				xTaskNotifyFromISR(xTaskHandleChkMeteo,0,eNoAction,&xHigherPriorityTaskWoken);
			}
			else if(packet_len > PACK_OK_LEN)
			{
				//then packet is corrupt..
				//reset the packet_len variable
				packet_len = 0;
				// notify printError Task
				// xTaskNotifyFromISR(xTaskHandlePrintErr,0,eNoAction,&xHigherPriorityTaskWoken);
				// to test just send whatever.. 24.4.2019
				xTaskNotifyFromISR(xTaskHandleChkMeteo,0,eNoAction,&xHigherPriorityTaskWoken);
			}
	        else{
				// do nothing
			}
	// if the above freertos apis wake up any higher priority task, then yield the processor to the
	//higher priority task which is just woken up.

	if(xHigherPriorityTaskWoken)
	{
		taskYIELD();
	}
}
#endif

// USART1_ISR R.Oliva 18.4.2019 moved to main 24.4.2019
void USART1_IRQHandler(void)
{
  	uint8_t data_byte;  // LL_ requiere 8 bit
	//a data byte is received from the user
	BaseType_t xHigherPriorityTaskWoken = pdFALSE;
	// char dbg_msg[20];

	if( LL_USART_IsActiveFlag_RXNE(USART1) && LL_USART_IsEnabledIT_RXNE(USART1))
		{
		data_byte = LL_USART_ReceiveData8(USART1);

		packet_buffer[packet_len++] = data_byte;

		if((data_byte == '*' ) && (packet_len == PACK_OK_LEN))
				{
					//then packet is ok..
					//reset the packet_len variable
					packet_len = 0;

					//notify the CheckMeteoHand task
					xTaskNotifyFromISR(xTaskHandleChkMeteo,0,eNoAction,&xHigherPriorityTaskWoken);
				}
				else if(packet_len > PACK_OK_LEN)
				{
					//then packet is corrupt..
					//reset the packet_len variable
					packet_len = 0;
					// notify printError Task
					// xTaskNotifyFromISR(xTaskHandlePrintErr,0,eNoAction,&xHigherPriorityTaskWoken);
					// to test just send whatever.. 24.4.2019
					xTaskNotifyFromISR(xTaskHandleChkMeteo,0,eNoAction,&xHigherPriorityTaskWoken);
				}
		        else{
					// do nothing
				}
		// if the above freertos apis wake up any higher priority task, then yield the processor to the
		//higher priority task which is just woken up.

		if(xHigherPriorityTaskWoken)
		{
			taskYIELD();
		}
	}
}

#define IMPLEMENT_USART6_ISR_IN_MAIN
#ifndef IMPLEMENT_USART6_ISR_IN_MAIN
// Callback de UART6 - Recepción como terminal (antes en stm32f4xx_it.c, ahora referenciado desde allí
// via main.h) -
// 22.4.19 Corregido para LL_USART_ReceiveData8, recibe tipo uint8_t, y agregamos DEBUG_USART6
// con un printout para verificar

void USART6_Reception_Callback(void){

	uint8_t data_byte;  // LL_ requirese 8 bit
	//a data byte is received from the user
	BaseType_t xHigherPriorityTaskWoken = pdFALSE;
	char dbg_msg[10];

	data_byte = LL_USART_ReceiveData8(USART6);

	#ifdef DEBUG_USART6
      sprintf(dbg_msg,"\r\n %c",data_byte);
      printmsg(dbg_msg);
	#endif

	command_buffer[command_len++] = data_byte;

	if(data_byte == '\r')
	{
		//then user is finished entering the data

		//reset the command_len variable
		command_len = 0;

		// lets notify the Display Task
		// TaskHandle_t xTaskHandleDisplay -  Task 1 Display Handle
	    // xTaskCreate(vTask_Display,"TASK_DISPLAY-1",500,NULL,1,&xTaskHandleDisplay);
		// Avisar al command handling task
        #ifdef DEBUG_USART6B
          sprintf(dbg_msg,"\r\n NotCmh");
          printmsg(dbg_msg);
	    #endif
		xTaskNotifyFromISR(xTaskHandleUart6CmdH,0,eNoAction,&xHigherPriorityTaskWoken);
        // y despues al que imprime el menu..
		xTaskNotifyFromISR(xTaskHandleDisplay,0,eNoAction,&xHigherPriorityTaskWoken);

	}
	// if the above freertos apis wake up any higher priority task, then yield the processor to the
	//higher priority task which is just woken up.
	if(xHigherPriorityTaskWoken)
	{
		taskYIELD();
	}
}
#else
// Implementar localmente la ISR.. 22.4.19 14:00
void USART6_IRQHandler(void)
{
  /* USER CODE BEGIN USART6_IRQn 0 */
	uint8_t data_byte;  // LL_ requirese 8 bit
	//a data byte is received from the user
	BaseType_t xHigherPriorityTaskWoken = pdFALSE;
	// char dbg_msg[20];

	if( LL_USART_IsActiveFlag_RXNE(USART6) && LL_USART_IsEnabledIT_RXNE(USART6))
		{

		// Former USART6_Reception_Callback();
		data_byte = LL_USART_ReceiveData8(USART6);

		#ifdef DEBUG_USART6B
		      sprintf(dbg_msg,"\r\n %c",data_byte);
		      printmsg(dbg_msg);
		#endif

		command_buffer[command_len++] = data_byte;

		if(data_byte == '\r')
			{
				//then user is finished entering the data
				//reset the command_len variable
				command_len = 0;

		        #ifdef DEBUG_USART6B
		          sprintf(dbg_msg,"\r\n NotCmh");
		          printmsg(dbg_msg);
			    #endif
				// Avisar al command handling task
				xTaskNotifyFromISR(xTaskHandleUart6CmdH,0,eNoAction,&xHigherPriorityTaskWoken);
		        // y despues al que imprime el menu.. 24.4.2019 dejar para el 0 de usuario..
				// xTaskNotifyFromISR(xTaskHandleDisplay,0,eNoAction,&xHigherPriorityTaskWoken);

			}
			#ifdef DEBUG_USART6B
				sprintf(dbg_msg,"\r\n NtCmHE");
				printmsg(dbg_msg);
			#endif
			// if the above freertos apis wake up any higher priority task, then yield the processor to the
			//higher priority task which is just woken up.
			if(xHigherPriorityTaskWoken)
			{
				taskYIELD();
			}

		}

}
#endif

/* USER CODE END 4 */

void HAL_TIM_PeriodElapsedCallback(TIM_HandleTypeDef *htim)
{
  if (htim->Instance == TIM1) {
    HAL_IncTick();
  }
}

void Error_Handler(void)
{
}

/************************ (C) COPYRIGHT STMicroelectronics *****END OF FILE****/
